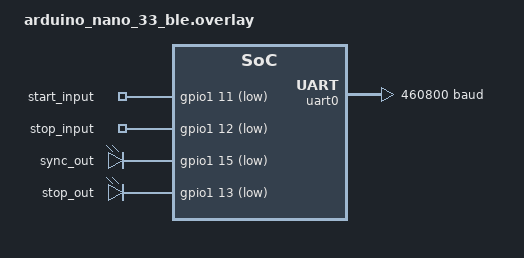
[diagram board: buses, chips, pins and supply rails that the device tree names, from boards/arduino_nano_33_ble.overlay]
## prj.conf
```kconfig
#
# Copyright (c) 2019 Nordic Semiconductor ASA
#
# SPDX-License-Identifier: LicenseRef-Nordic-5-Clause
#
CONFIG_NCS_SAMPLES_DEFAULTS=y
CONFIG_ESB=y
CONFIG_SERIAL=y
CONFIG_UART_INTERRUPT_DRIVEN=y
#CONFIG_GPIO_NFRX=y
#
# Serial Drivers
#
#CONFIG_UART_NRFX=y
#CONFIG_UART_0_NRF_UARTE=y
#CONFIG_UART_0_ENHANCED_POLL_OUT=y
#CONFIG_UART_0_INTERRUPT_DRIVEN=y
# CONFIG_UART_0_NRF_PARITY_BIT is not set
#CONFIG_UART_0_NRF_TX_BUFFER_SIZE=32
#CONFIG_UART_1_NRF_UARTE=y
#CONFIG_UART_1_INTERRUPT_DRIVEN=y
#CONFIG_UART_1_ENHANCED_POLL_OUT=y
# CONFIG_UART_1_NRF_PARITY_BIT is not set
#CONFIG_UART_1_NRF_TX_BUFFER_SIZE=32
#CONFIG_UART_2_NRF_UARTE=n
#CONFIG_UART_2_INTERRUPT_DRIVEN=n
#CONFIG_UART_2_ENHANCED_POLL_OUT=n
# CONFIG_UART_2_NRF_PARITY_BIT is not set
#CONFIG_UART_2_NRF_TX_BUFFER_SIZE=32
#CONFIG_UART_ENHANCED_POLL_OUT=y
#CONFIG_NRF_UARTE_PERIPHERAL=y
# CONFIG_UART_ALTERA_JTAG is not set
# CONFIG_UART_XLNX_UARTLITE is not set
```

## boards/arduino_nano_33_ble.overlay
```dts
// arduino_nano_33_ble.overlay
// Application-specific overrides and definitions

// Change UART baud rate
&uart0 {
    current-speed = <460800>;
};

// Define GPIO outputs and outputs
/ {
	gpio_in {
		compatible = "gpio-keys"; // Inherit gpio-keys properties
		start_in: gpio_start_in {
			gpios = < &gpio1 11 (GPIO_ACTIVE_LOW | GPIO_PULL_UP) >;
			label = "start_input";
		};
		stop_in: gpio_stop_in {
			gpios = < &gpio1 12 (GPIO_ACTIVE_LOW | GPIO_PULL_UP) >;
			label = "stop_input";
		};
	};
	
	gpio_out {
		compatible = "gpio-leds"; // Inherit gpio-led properties
		sync_out: gpio_sync_out {
			gpios = <&gpio1 15 GPIO_ACTIVE_LOW>;
		};
		stop_out: gpio_stop_out {
			gpios = <&gpio1 13 GPIO_ACTIVE_LOW>;
		};
	};
};
```

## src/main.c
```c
/*
 * Copyright (c) 2018 Nordic Semiconductor ASA
 *
 * SPDX-License-Identifier: LicenseRef-Nordic-5-Clause
 */
 /******************************************************************************
 * Nano_Logger
 * 03.11.22
 * Based on ESB samples provided with Nordic nRF Connect SDK.
 * Receive sync packet and forward to OLA via UART.
 * Sync packet includes command byte and 7-byte RTC value.
 ******************************************************************************/

// Includes
#include <drivers/clock_control.h>
#include <drivers/clock_control/nrf_clock_control.h>
#include <drivers/gpio.h>
#include <irq.h>
#include <logging/log.h>
#include <nrf.h>
#include <esb.h>
#include <zephyr.h>
#include <zephyr/types.h>
#include <drivers/uart.h>

// Target board
#define NANO
//#define DONGLE
//#define XIAO

//LOG_MODULE_REGISTER(esb_prx, CONFIG_ESB_PRX_APP_LOG_LEVEL);

#define RX_PAYLOAD_LEN 8 // Command byte plus 7-byte RTC value. 
#define RX_CMD_SYNC 0
#define RX_CMD_STOP 1
#define SOF 0xAA

// Nodelabels are defined in .dts and .overlay files
#define SYNC DT_NODELABEL(sync_out)
#define STOP DT_NODELABEL(stop_out)
#if defined(DONGLE)
#define led DT_NODELABEL(led0_green)
#elif defined(NANO)
#define LED DT_NODELABEL(led0)
#endif

// Devicetree data structures
static const struct gpio_dt_spec sync = GPIO_DT_SPEC_GET(SYNC, gpios);
static const struct gpio_dt_spec stop = GPIO_DT_SPEC_GET(STOP, gpios);
static const struct gpio_dt_spec led = GPIO_DT_SPEC_GET(LED, gpios);
static const struct device *uart = DEVICE_DT_GET(DT_NODELABEL(uart0));

// ESB data structures
static struct esb_payload rx_payload; // ESB received data.
// tx_payload may be used for streaming in a later version.
// Initialise to appropriate length.
static struct esb_payload tx_payload = ESB_CREATE_PAYLOAD(0,
	0x00, 0x01, 0x02, 0x03, 0x04); 

// Global flag for ISR
volatile bool received = false; // Packet received flag

// Initialise GPIO pins
int pins_init(void)
{
    if (!device_is_ready(sync.port)) return;
    if (!device_is_ready(stop.port)) return;
    if (!device_is_ready(led.port)) return;

    gpio_pin_configure_dt(&sync, GPIO_OUTPUT_INACTIVE);
    gpio_pin_configure_dt(&stop, GPIO_OUTPUT_INACTIVE);
    gpio_pin_configure_dt(&led, GPIO_OUTPUT_INACTIVE);

    return 0;
}

// ESB callback
void esb_cb(struct esb_evt const *event)
{
	switch (event->evt_id) {
	case ESB_EVENT_TX_SUCCESS:
		//LOG_DBG("TX SUCCESS EVENT");
		break;
	case ESB_EVENT_TX_FAILED:
		//LOG_DBG("TX FAILED EVENT");
		break;
	case ESB_EVENT_RX_RECEIVED:
		received = true; // Signal that a packet has been received
		// if (esb_read_rx_payload(&rx_payload) == 0) { // 0 = normal return	
		// 	gpio_pin_set_dt(&sync, true); // Assert the sync output
        //     received = true; // Signal that a packet has been received
		// } else {
		// 	//LOG_ERR("Error while reading rx packet");
		// }
		break;
	}
}

// Initialise clocks
int clocks_init(void)
{
	int err;
	int res;
	struct onoff_manager *clk_mgr;
	struct onoff_client clk_cli;

	clk_mgr = z_nrf_clock_control_get_onoff(CLOCK_CONTROL_NRF_SUBSYS_HF);
	if (!clk_mgr) {
		//LOG_ERR("Unable to get the Clock manager");
		return -ENXIO;
	}

	sys_notify_init_spinwait(&clk_cli.notify);

	err = onoff_request(clk_mgr, &clk_cli);
	if (err < 0) {
		//LOG_ERR("Clock request failed: %d", err);
		return err;
	}

	do {
		err = sys_notify_fetch_result(&clk_cli.notify, &res);
		if (!err && res) {
			//LOG_ERR("Clock could not be started: %d", res);
			return res;
		}
	} while (err);

	// //LOG_DBG("HF clock started");
	return 0;
}

// Initialise ESB
int esb_initialise(void)
{
	int err;
	/* These are arbitrary default addresses. In end user products
	 * different addresses should be used for each set of devices.
	 */
	//uint8_t base_addr_0[4] = {0xE7, 0xE7, 0xE7, 0xE7};
	//uint8_t base_addr_1[4] = {0xC2, 0xC2, 0xC2, 0xC2};
	uint8_t base_addr_0[2] = {0xE7, 0xE7};
	uint8_t base_addr_1[2] = {0xC2, 0xC2};
	uint8_t addr_prefix[8] = {0xE7, 0xC2, 0xC3, 0xC4, 0xC5, 0xC6, 0xC7, 0xC8};

    // Declare and initialise ESB configuration data structure
	struct esb_config config = ESB_DEFAULT_CONFIG;

	config.protocol = ESB_PROTOCOL_ESB_DPL;
	config.bitrate = ESB_BITRATE_2MBPS;
	config.mode = ESB_MODE_PRX;
	config.event_handler = esb_cb;
    config.tx_output_power = ESB_TX_POWER_4DBM;
	config.selective_auto_ack = true;
    config.crc = ESB_CRC_16BIT;
	config.retransmit_delay = 600;
	config.retransmit_count = 0;
    config.payload_length = 3;

    // Initialise ESB
	err = esb_init(&config);
	if (err) {
		return err;
	}

    //err = esb_set_address_length(5);
    err = esb_set_address_length(3); // 3-byte address
	if (err) {
		return err;
	}

	err = esb_set_base_address_0(base_addr_0);
	if (err) {
		return err;
	}

	err = esb_set_base_address_1(base_addr_1);
	if (err) {
		return err;
	}

	err = esb_set_prefixes(addr_prefix, ARRAY_SIZE(addr_prefix));
	if (err) {
		return err;
	}

        err = esb_set_rf_channel(0);
	if (err) {
		return err;
	}

	return 0;
}

static inline uint8_t crc8_0x07(const uint8_t *buf, uint8_t len) {
  uint8_t crc = 0x00;
  while (len--) {
    crc ^= *buf++;
    for (uint8_t i = 0; i < 8; i++)
      crc = (crc & 0x80) ? ((crc << 1) ^ 0x07) : (crc << 1);
  }
  return crc;
}


void handle_esb_payload(const struct esb_payload *p) {

	// Basic checks
  	if (p->length != RX_PAYLOAD_LEN) return;
  	if (p->data[0] != SOF) return;

  	uint8_t calc = crc8_0x07(p->data, RX_PAYLOAD_LEN - 1);
  	if (calc != p->data[RX_PAYLOAD_LEN - 1]) return;

  	// Valid frame → assert sync only now
  	gpio_pin_set_dt(&sync, true);
  	gpio_pin_set_dt(&led, true);

  	// Command
  	if (p->data[1] == RX_CMD_STOP) gpio_pin_set_dt(&stop, true);

  	// Forward [t3 t2 t1 t0 hh] = indices 2..6
	for (uint8_t i = 2; i <= 6; i++) {
		uart_poll_out(uart, p->data[i]);
		k_usleep(50);
	}

	// De-assert
	gpio_pin_set_dt(&sync, false);
	gpio_pin_set_dt(&stop, false);
	gpio_pin_set_dt(&led, false);
}


void main(void)
{
	int err;
    uint8_t i;

	//LOG_INF("Enhanced ShockBurst prx sample");
	err = pins_init();
	if (err) {
		return;
	}

	err = clocks_init();
	if (err) {
		return;
	}

	err = esb_initialise();
	if (err) {
		//LOG_ERR("ESB initialization failed, err %d", err);
		return;
	}

	//LOG_INF("Initialization complete");

	err = esb_write_payload(&tx_payload);
	if (err) {
		//LOG_ERR("Write payload, err %d", err);
		return;
	}

	//LOG_INF("Setting up for packet receiption");

	err = esb_start_rx();
	if (err) {
		//LOG_ERR("RX setup failed, err %d", err);
		return;
	}

	while (true) {

		if (!received) {
			k_yield();
			continue;
		}
		received = false;

		// Drain the RX FIFO completely
		while (esb_read_rx_payload(&rx_payload) == 0) {
			handle_esb_payload(&rx_payload);
		}
	}
	
    // while (true) {
    //     if (received == true) {           
    //         received = false; // De-assert ESB flag

	// 		// Wait for start of frame
	// 		if (rx_payload.data[0] == SOF) {

	// 			uint8_t rxLength = rx_payload.length;

	// 			if (rxLength == RX_PAYLOAD_LEN) {

	// 				// Full frame received
	// 				uint8_t calcCrc = crc8_0x07(rx_payload.data, RX_PAYLOAD_LEN - 1);
	// 				uint8_t recvCrc = rx_payload.data[RX_PAYLOAD_LEN - 1];

	// 				if (calcCrc == recvCrc) {
					
	// 					gpio_pin_set_dt(&led, true); // Turn on the LED

	// 					if (rx_payload.data[1] == RX_CMD_STOP) {
	// 						gpio_pin_set_dt(&stop, true); // Assert the stop output
	// 					}
	// 					for (i = 2; i < (RX_PAYLOAD_LEN - 1); i++) {
	// 						uart_poll_out(uart, rx_payload.data[i]); // Send RTC to OLA in receive order
	// 						k_usleep(50); // Give the OLA time to keep up
	// 					}

	// 					gpio_pin_set_dt(&sync, false); // De-assert the sync output
	// 					gpio_pin_set_dt(&stop, false); // De-assert the stop output

	// 					gpio_pin_set_dt(&led, false); // Turn off the LED

	// 				} 
	// 			}
	// 		}
    //     }
    // }
	/* return to idle thread */
	return;
}
```
